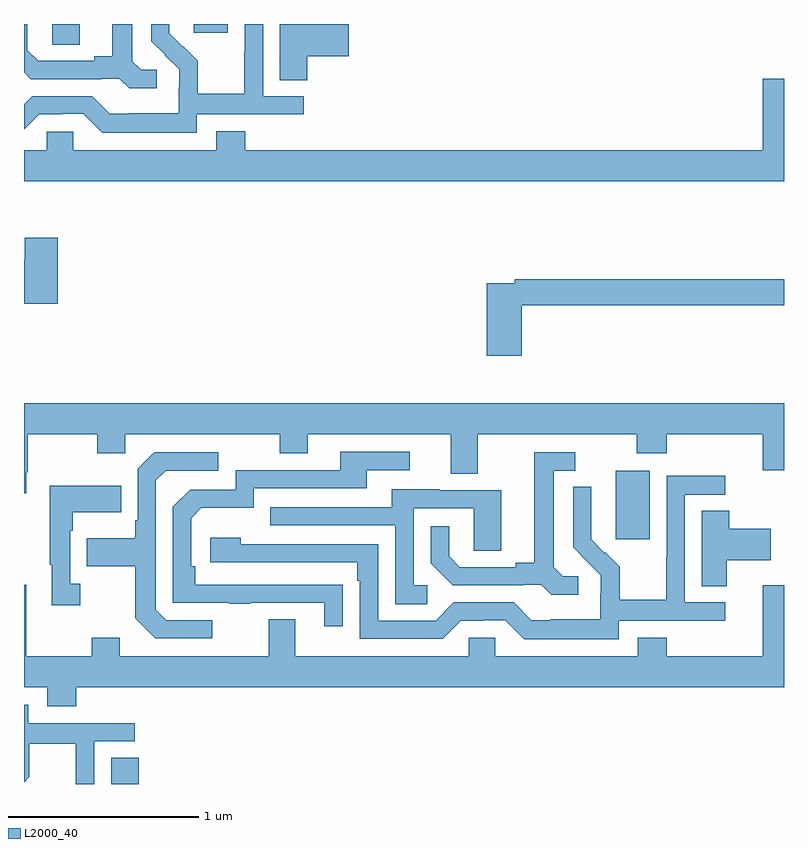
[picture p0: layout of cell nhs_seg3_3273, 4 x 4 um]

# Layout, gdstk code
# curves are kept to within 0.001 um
import gdstk
lib = gdstk.Library(unit=1e-6, precision=1e-09)
def R(c, l, rs):  # rectangles x0, y0, x1, y1
    for r in rs: c.add(gdstk.rectangle(r[:2], r[2:], *l))
def P(c, l, *ps):  # polygons
    for p in ps: c.add(gdstk.Polygon(p, *l))
L2000_40 = (2000, 40)

nhs_seg3_3273 = lib.new_cell('nhs_seg3_3273')
R(nhs_seg3_3273, L2000_40, [(281.459,708.4,281.603,708.539), (284.114,709.689,284.293,710.05), (281.148,712.291,281.293,712.4), (281.894,712.353,282.073,712.4)])
P(nhs_seg3_3273, L2000_40, [(281.91,711.924),(282.472,711.924),(282.472,712.02),(282.258,712.02),(282.258,712.4),(282.162,712.4),(282.162,712.256),(282.16,712.256),(282.16,712.033),(281.915,712.033),(281.915,712.207),(281.838,712.284),(281.835,712.281),(281.765,712.352),(281.765,712.4),(281.67,712.4),(281.67,712.31),(281.816,712.162),(281.816,712.065),(281.814,712.065),(281.814,711.931),(281.551,711.931),(281.551,711.927),(281.451,711.927),(281.358,712.02),(281.043,712.02),(281,711.977),(281,711.845),(281.079,711.924),(281.198,711.924),(281.198,711.927),(281.313,711.927),(281.413,711.827),(281.91,711.827)],
  [(281.698,712.158),(281.616,712.158),(281.569,712.205),(281.569,712.4),(281.465,712.4),(281.465,712.229),(281.369,712.229),(281.369,712.206),(281.074,712.206),(281.017,712.263),(281.017,712.4),(281,712.4),(281,712.146),(281.036,712.11),(281.408,712.11),(281.408,712.113),(281.502,712.113),(281.554,712.061),(281.698,712.061)],
  [(282.491,712.229),(282.709,712.229),(282.709,712.4),(282.347,712.4),(282.347,712.105),(282.491,712.105)],
  [(285,712.111),(284.888,712.111),(284.888,711.736),(282.164,711.736),(282.164,711.835),(282.011,711.835),(282.011,711.736),(281.259,711.736),(281.259,711.834),(281.121,711.834),(281.121,711.736),(281,711.736),(281,711.572),(285,711.572)],
  [(281.177,711.276),(281.003,711.276),(281.003,711.16),(281,711.16),(281,710.927),(281.177,710.927)],
  [(283.619,710.92),(285,710.92),(285,711.056),(283.582,711.056),(283.582,711.036),(283.436,711.036),(283.436,710.655),(283.619,710.655)],
  [(281.011,710.041),(281.019,710.041),(281.019,710.24),(281.386,710.24),(281.386,710.141),(281.532,710.141),(281.532,710.24),(282.346,710.24),(282.346,710.141),(282.493,710.141),(282.493,710.24),(283.247,710.24),(283.247,710.032),(283.387,710.032),(283.387,710.24),(284.224,710.24),(284.224,710.141),(284.384,710.141),(284.384,710.24),(284.888,710.24),(284.888,710.052),(285,710.052),(285,710.404),(281,710.404),(281,709.929),(281.011,709.929)],
  [(282.677,709.448),(281.9,709.449),(281.9,709.546),(281.88,709.546),(281.88,709.8),(281.933,709.853),(282.21,709.853),(282.21,709.956),(282.805,709.956),(282.805,710.052),(283.03,710.052),(283.03,710.148),(282.665,710.148),(282.665,710.052),(282.114,710.052),(282.114,709.95),(281.874,709.95),(281.784,709.86),(281.784,709.353),(282.079,709.353),(282.079,709.348),(282.191,709.348),(282.191,709.353),(282.581,709.353),(282.581,709.23),(282.677,709.23)],
  [(283.918,709.494),(283.836,709.494),(283.789,709.541),(283.789,710.049),(283.9,710.049),(283.9,710.145),(283.685,710.145),(283.685,709.565),(283.589,709.565),(283.589,709.542),(283.294,709.542),(283.237,709.599),(283.237,709.756),(283.14,709.756),(283.14,709.562),(283.256,709.446),(283.628,709.446),(283.628,709.449),(283.722,709.449),(283.774,709.397),(283.918,709.397)],
  [(281.992,709.263),(281.748,709.263),(281.694,709.317),(281.694,709.998),(281.745,710.049),(282.022,710.049),(282.022,710.145),(281.685,710.145),(281.598,710.058),(281.598,709.789),(281.586,709.789),(281.586,709.693),(281.329,709.693),(281.329,709.546),(281.586,709.546),(281.586,709.273),(281.691,709.167),(281.992,709.167)],
  [(284.13,709.26),(284.692,709.26),(284.692,709.356),(284.478,709.356),(284.478,709.923),(284.692,709.923),(284.692,710.022),(284.382,710.022),(284.382,709.592),(284.38,709.592),(284.38,709.369),(284.135,709.369),(284.135,709.543),(284.058,709.62),(284.055,709.617),(283.985,709.688),(283.986,709.964),(283.89,709.964),(283.89,709.646),(284.036,709.498),(284.036,709.401),(284.034,709.401),(284.034,709.267),(283.771,709.267),(283.771,709.263),(283.671,709.263),(283.578,709.356),(283.263,709.356),(283.167,709.26),(282.864,709.26),(282.864,709.662),(282.14,709.662),(282.14,709.696),(281.979,709.696),(281.979,709.566),(282.755,709.566),(282.755,709.469),(282.768,709.469),(282.768,709.164),(283.203,709.164),(283.299,709.26),(283.418,709.26),(283.418,709.263),(283.533,709.263),(283.633,709.163),(284.13,709.163)],
  [(281.296,709.454),(281.244,709.454),(281.244,709.733),(281.257,709.733),(281.257,709.829),(281.513,709.829),(281.513,709.969),(281.136,709.969),(281.136,709.553),(281.147,709.553),(281.147,709.341),(281.296,709.341)],
  [(283.123,709.446),(283.05,709.446),(283.05,709.851),(283.368,709.851),(283.368,709.627),(283.513,709.627),(283.513,709.947),(283.189,709.947),(283.189,709.951),(282.935,709.951),(282.935,709.857),(282.295,709.857),(282.295,709.761),(282.954,709.761),(282.954,709.345),(283.123,709.345)],
  [(284.698,709.577),(284.929,709.577),(284.929,709.743),(284.711,709.743),(284.711,709.838),(284.567,709.838),(284.567,709.441),(284.698,709.441)],
  [(281.276,708.908),(285,708.908),(285,709.447),(284.888,709.447),(284.888,709.072),(284.384,709.072),(284.384,709.171),(284.231,709.171),(284.231,709.072),(283.479,709.072),(283.479,709.17),(283.341,709.17),(283.341,709.072),(282.427,709.072),(282.427,709.267),(282.287,709.267),(282.287,709.072),(281.503,709.072),(281.503,709.171),(281.356,709.171),(281.356,709.072),(281.011,709.072),(281.011,709.45),(281,709.45),(281,708.908),(281.123,708.908),(281.123,708.809),(281.276,708.809)],
  [(281.37,708.624),(281.584,708.624),(281.584,708.72),(281.022,708.72),(281.022,708.817),(281,708.817),(281,708.41),(281.027,708.437),(281.027,708.612),(281.272,708.612),(281.272,708.4),(281.37,708.4)])

lib.write_gds('nhs_seg3_3273.gds')
